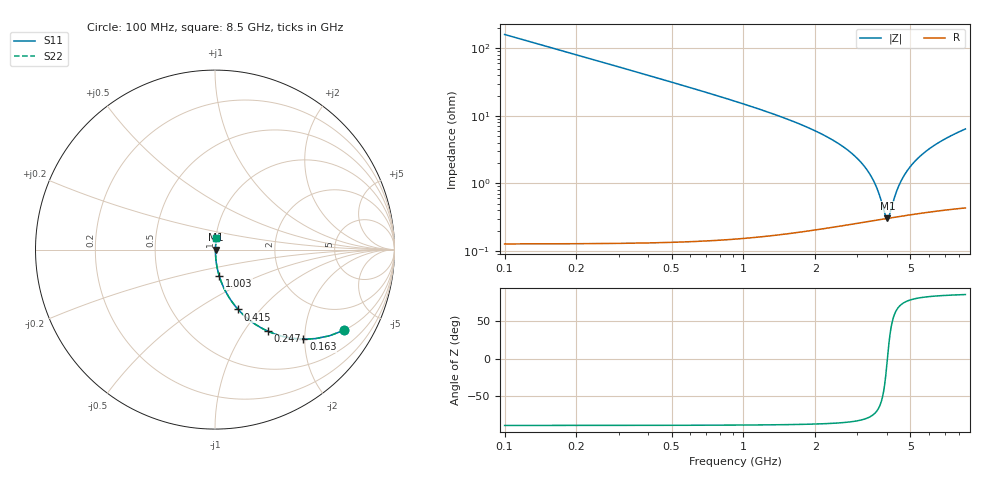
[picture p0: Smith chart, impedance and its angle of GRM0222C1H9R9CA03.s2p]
!Murata Part Number: GRM0222C1H9R9CA03
!These Parameters are Measured in Series Mode Connection
!Data Generated on Mar 30, 2021
!  o--ll--o
!Port1  Port2
!  o------o
!Operation Temp=25[degC], DC Bias Voltage=0[V]
!Freq. Start=100[MHz] Stop=9[GHz] 401[Steps]
# Hz S RI R 50
!Freq.(Hz) S11(Real) S11(Imag) S21(Real) S21(Imag) S12(Real) S12(Imag) S22(Real) S22(Imag)
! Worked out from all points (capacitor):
!   401 points, 100 MHz to 8.5 GHz, reference 50 ohm
!   read as one part in series: C = 9.9 pF near 142 MHz
!   lowest |Z| = 303 mohm at 4.006 GHz (marker M1)
!   series resonance near 4.008 GHz, so ESL is about 160 pH
!   S11 on the Smith chart (normalised r, x): 100 MHz: 1.00, -3.21; 163 MHz: 1.00, -1.97; 247 MHz: 1.00, -1.30; 415 MHz: 1.00, -0.77; 1.003 GHz: 1.00, -0.30; 8.5 GHz: 1.01, +0.13
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1e8  0.7206 -0.4483  0.2794 0.4483  0.2794 0.4483  0.7206 -0.4483
1.63e8  0.4922 -0.4993  0.5078 0.4993  0.5078 0.4993  0.4922 -0.4993
2.47e8  0.2963 -0.4556  0.7037 0.4556  0.7037 0.4556  0.2963 -0.4556
3.31e8  0.1893 -0.3904  0.8107 0.3904  0.8107 0.3904  0.1893 -0.3904
4.15e8  0.1288 -0.3333  0.8712 0.3333  0.8712 0.3333  0.1288 -0.3333
6.67e8  0.0531 -0.2213  0.9469 0.2213  0.9469 0.2213  0.0531 -0.2213
1.003e9  0.0234 -0.1461  0.9766 0.1461  0.9766 0.1461  0.0234 -0.1461
1.507e9  0.00996 -0.09  0.99 0.09  0.99 0.09  0.00996 -0.09
2.914e9  0.00316 -0.0255  0.9968 0.0255  0.9968 0.0255  0.00316 -0.0255
3.229e9  0.00296 -0.0171  0.997 0.0171  0.997 0.0171  0.00296 -0.0171
3.481e9  0.00291 -0.0111  0.9971 0.0111  0.9971 0.0111  0.00291 -0.0111
3.691e9  0.00292 -0.00646  0.9971 0.00646  0.9971 0.00646  0.00292 -0.00646
3.922e9  0.00299 -0.0017  0.997 0.0017  0.997 0.0017  0.00299 -0.0017
4.006e9  0.00302 -4.11e-05  0.997 4.11e-05  0.997 4.11e-05  0.00302 -4.11e-05
4.09e9  0.00306 0.00158  0.9969 -0.00158  0.9969 -0.00158  0.00306 0.00158
4.3e9  0.00317 0.00549  0.9968 -0.00549  0.9968 -0.00549  0.00317 0.00549
4.531e9  0.00333 0.00958  0.9967 -0.00958  0.9967 -0.00958  0.00333 0.00958
4.825e9  0.00356 0.0145  0.9964 -0.0145  0.9964 -0.0145  0.00356 0.0145
5.224e9  0.00392 0.0208  0.9961 -0.0208  0.9961 -0.0208  0.00392 0.0208
5.707e9  0.00443 0.0279  0.9956 -0.0279  0.9956 -0.0279  0.00443 0.0279
7.114e9  0.00622 0.0466  0.9938 -0.0466  0.9938 -0.0466  0.00622 0.0466
8.5e9  0.00832 0.063  0.9917 -0.063  0.9917 -0.063  0.00832 0.063
